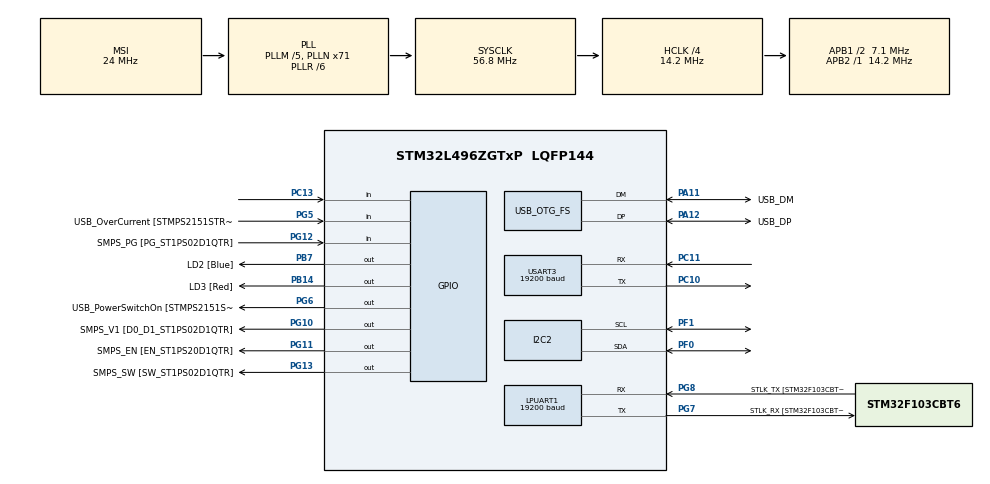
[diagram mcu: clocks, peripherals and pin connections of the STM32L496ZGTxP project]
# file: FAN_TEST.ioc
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I2C2.OwnAddress=0x50
I2C2.Timing=0x00101A26
LPUART1.BaudRate=19200
LPUART1.SwapParam=UART_ADVFEATURE_SWAP_ENABLE
LPUART1.WordLength=UART_WORDLENGTH_8B
Mcu.Family=STM32L4
Mcu.Name=STM32L496ZGTxP
Mcu.Package=LQFP144
NVIC.OTG_FS_IRQn=true\:0\:0\:false\:false\:true\:true\:true\:true
NVIC.PriorityGroup=NVIC_PRIORITYGROUP_4
PA10.GPIO_Label=USB_ID
PA10.Signal=USB_OTG_FS_ID
PA11.GPIO_Label=USB_DM
PA11.Mode=Host_Only
PA11.Signal=USB_OTG_FS_DM
PA12.GPIO_Label=USB_DP
PA12.Mode=Host_Only
PA12.Signal=USB_OTG_FS_DP
PA13\ (JTMS/SWDIO).GPIO_Label=TMS
PA13\ (JTMS/SWDIO).Mode=Trace_Asynchronous_SW
PA13\ (JTMS/SWDIO).Signal=SYS_JTMS-SWDIO
PA14\ (JTCK/SWCLK).GPIO_Label=TCK
PA14\ (JTCK/SWCLK).Mode=Trace_Asynchronous_SW
PA14\ (JTCK/SWCLK).Signal=SYS_JTCK-SWCLK
PA8.GPIO_Label=USB_SOF [TP1]
PA8.Signal=USB_OTG_FS_SOF
PA9.GPIO_Label=USB_VBUS
PA9.Signal=USB_OTG_FS_VBUS
PB14.GPIO_Label=LD3 [Red]
PB14.Signal=GPIO_Output
PB3\ (JTDO/TRACESWO).GPIO_Label=SWO
PB3\ (JTDO/TRACESWO).Mode=Trace_Asynchronous_SW
PB3\ (JTDO/TRACESWO).Signal=SYS_JTDO-SWO
PB7.GPIO_Label=LD2 [Blue]
PB7.Signal=GPIO_Output
PC10.Mode=Asynchronous
PC10.Signal=USART3_TX
PC11.Mode=Asynchronous
PC11.Signal=USART3_RX
PC13.Signal=GPIO_Input
PC14-OSC32_IN\ (PC14).Mode=LSE-External-Oscillator
PC14-OSC32_IN\ (PC14).Signal=RCC_OSC32_IN
PC15-OSC32_OUT\ (PC15).Mode=LSE-External-Oscillator
PC15-OSC32_OUT\ (PC15).Signal=RCC_OSC32_OUT
PF0.Mode=I2C
PF0.Signal=I2C2_SDA
PF1.Mode=I2C
PF1.Signal=I2C2_SCL
PG10.GPIO_Label=SMPS_V1 [D0_D1_ST1PS02D1QTR]
PG10.Signal=GPIO_Output
PG11.GPIO_Label=SMPS_EN [EN_ST1PS20D1QTR]
PG11.Signal=GPIO_Output
PG12.GPIO_Label=SMPS_PG [PG_ST1PS02D1QTR]
PG12.Signal=GPIO_Input
PG13.GPIO_Label=SMPS_SW [SW_ST1PS02D1QTR]
PG13.Signal=GPIO_Output
PG5.GPIO_Label=USB_OverCurrent [STMPS2151STR_FAULT]
PG5.Signal=GPIO_Input
PG6.GPIO_Label=USB_PowerSwitchOn [STMPS2151STR_EN]
PG6.Signal=GPIO_Output
PG7.GPIO_Label=STLK_RX [STM32F103CBT6_PA3]
PG7.Mode=Asynchronous
PG7.Signal=LPUART1_TX
PG8.GPIO_Label=STLK_TX [STM32F103CBT6_PA2]
PG8.Mode=Asynchronous
PG8.Signal=LPUART1_RX
PH0-OSC_IN\ (PH0).GPIO_Label=MCO
PH0-OSC_IN\ (PH0).Signal=RCC_OSC_IN
PH1-OSC_OUT\ (PH1).Signal=RCC_OSC_OUT
ProjectManager.HeapSize=0x200
ProjectManager.StackSize=0x400
ProjectManager.TargetToolchain=STM32CubeIDE
RCC.48MHZClocksFreq_Value=24000000
RCC.ADCFreq_Value=48000000
RCC.AHBCLKDivider=RCC_SYSCLK_DIV4
RCC.AHBFreq_Value=14200000
RCC.APB1CLKDivider=RCC_HCLK_DIV2
RCC.APB1Freq_Value=7100000
RCC.APB1TimFreq_Value=14200000
RCC.APB2Freq_Value=14200000
RCC.APB2TimFreq_Value=14200000
RCC.CortexFreq_Value=14200000
RCC.HCLKFreq_Value=14200000
RCC.HSE_VALUE=8000000
RCC.HSI48_VALUE=48000000
RCC.HSI_VALUE=16000000
RCC.MSIClockRange=RCC_MSIRANGE_9
RCC.MSI_VALUE=24000000
RCC.PLLM=5
RCC.PLLMUL=RCC_PLL_MUL9
RCC.PLLN=71
RCC.PLLR=RCC_PLLR_DIV6
RCC.PLLSAI1N=20
RCC.PRESCALERUSB=RCC_USBCLKSOURCE_PLL_DIV1_5
RCC.SYSCLKFreq_VALUE=56800000
RCC.SYSCLKSource=RCC_SYSCLKSOURCE_PLLCLK
RCC.SYSCLKSourceVirtual=RCC_SYSCLKSOURCE_PLLCLK
RCC.USBFreq_Value=48000000
RCC.VCOOutputFreq_Value=340800000
USART3.BaudRate=19200
USART3.VirtualMode-Asynchronous=VM_ASYNC
USB_HOST.BSP.number=1
USB_HOST.USBH_HandleTypeDef=hUsbHostFS
USB_HOST.VirtualModeFS=Audio
USB_HOST0.BSP.STBoard=false
USB_HOST0.BSP.api=UnknownBspDriver
USB_HOST0.BSP.instance=PG6
USB_HOST0.BSP.ip=GPIO
USB_HOST0.BSP.mode=Output
USB_HOST0.BSP.name=Drive_VBUS_FS
USB_HOST0.BSP.solution=PG6
USB_OTG_FS.VirtualMode=Host_Only
USB_OTG_FS.phy_itface=HCD_PHY_EMBEDDED
VP_TIM6_VS_ClockSourceINT.Mode=Enable_Timer
VP_USB_HOST_VS_USB_HOST_AUDIO_FS.Mode=AUDIO_FS
board=NUCLEO-L496ZG-P

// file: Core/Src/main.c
/* USER CODE BEGIN Header */
/**
  ******************************************************************************
  * @file           : main.c
  * @brief          : Main program body
  ******************************************************************************
  * @attention
  *
  * Copyright (c) 2022 STMicroelectronics.
  * All rights reserved.
  *
  * This software is licensed under terms that can be found in the LICENSE file
  * in the root directory of this software component.
  * If no LICENSE file comes with this software, it is provided AS-IS.
  *
  ******************************************************************************
  */
/* USER CODE END Header */
#include "main.h"
#include "usb_host.h"
#include<string.h>
#include<stdio.h>

I2C_HandleTypeDef hi2c2;

UART_HandleTypeDef hlpuart1;
UART_HandleTypeDef huart3;

TIM_HandleTypeDef htim6;

/* USER CODE BEGIN PV */
HAL_StatusTypeDef ret; // to store return value of communication function
uint8_t buf[50];

//Variable for Temperature sensor ADT1407
static const uint8_t TMP1407_ADDR = 0x48<<1;
static const uint8_t Temp_REG = 0x00;
float Temp;

//Variable for Fan Controller
static const uint8_t FAN_ADDR = 0x2F<<1;
uint8_t read_TACH_High_Reg = 0x3E;
uint8_t read_TACH_Low_Reg = 0x3F;
float RPM;

/* USER CODE END PV */

void SystemClock_Config(void);
static void MX_GPIO_Init(void);
static void MX_LPUART1_UART_Init(void);
static void MX_I2C2_Init(void);
static void MX_TIM6_Init(void);
static void MX_USART3_UART_Init(void);
void MX_USB_HOST_Process(void);

/* USER CODE BEGIN PFP */
void Read_Temp(void);
void Read_RPM(void);
/* USER CODE END PFP */

int main(void)
{
  /* USER CODE BEGIN 1 */

	uint16_t myData= 0xA;

  /* USER CODE END 1 */

  /* MCU Configuration--------------------------------------------------------*/

  /* Reset of all peripherals, Initializes the Flash interface and the Systick. */
  HAL_Init();

  /* Configure the system clock */
  SystemClock_Config();

  /* Initialize all configured peripherals */
  MX_GPIO_Init();
  MX_LPUART1_UART_Init();
  MX_USB_HOST_Init();
  MX_I2C2_Init();
  MX_TIM6_Init();
  MX_USART3_UART_Init();
  /* USER CODE BEGIN 2 */

  sprintf((char*)buf,"Data in Decimal : %d, Data in Hex : %X \n",myData,myData);
  HAL_UART_Transmit(&huart3, buf, strlen((char*)buf), 100);

  strcpy((char*)buf, "Application is Running\r\n");
  HAL_UART_Transmit(&huart3, buf, strlen((char*)buf), 100);
  /* USER CODE END 2 */

  /* Infinite loop */
  while (1)
  {
    MX_USB_HOST_Process();

    /* USER CODE BEGIN 3 */

    while(! HAL_GPIO_ReadPin(GPIOC, GPIO_PIN_13));
    HAL_GPIO_WritePin(GPIOB, GPIO_PIN_7, GPIO_PIN_SET);

    HAL_Delay(100);

    strcpy((char*)buf, "\n\rI2C Receive Data \r\n");
    HAL_UART_Transmit(&huart3, buf, strlen((char*)buf), 100);
    HAL_Delay(100);

    //HAL_I2C_Master_Receive(&hi2c2, SlaveAdr, SlaveReg, 1, 100);
    //HAL_I2C_Master_Receive(&hi2c2, SlaveAdr, i2c_RxData, sizeof(i2c_RxData), 100);
    //HAL_Delay(100);

    //HAL_UART_Transmit(&huart3, i2c_RxData, strlen((char*)i2c_RxData), 100);
    //HAL_Delay(100);

    Read_Temp();
    Read_RPM();

    HAL_GPIO_WritePin(GPIOB, GPIO_PIN_7, GPIO_PIN_RESET);
  }
  /* USER CODE END 3 */
}

/*
 * @brief Read Temperature
 * retval None
 * */
void Read_Temp(void){

	//uint8_t buf[20];
	buf[0]=Temp_REG;
	uint8_t low_byte;
	uint8_t high_byte;
	ret = HAL_I2C_Master_Transmit(&hi2c2,TMP1407_ADDR, buf, 1, 100);

	if(ret != HAL_OK){
		strcpy((char*)buf,"Error Tx \r\n");
	}else{
		// Read two bytes from the temperature register or Slave register
		ret = HAL_I2C_Master_Receive(&hi2c2, TMP1407_ADDR, buf, 2, 100);

		if(ret != HAL_OK){
			strcpy((char*)buf,"Error Rx \r\n");
		}else{

			//Combine the bytes
			uint16_t reading;
			reading = buf[0]<<8;
			reading = reading | buf[1];

			//Print I2C receive Data in Hex format
			low_byte=buf[0];
			high_byte=buf[1];
			sprintf((char*)buf,"Received data from I2C : %X\n",low_byte);
			HAL_UART_Transmit(&huart3, buf, strlen((char*)buf), 100);
			sprintf((char*)buf,"Received data from I2C : %X\n",high_byte);
			HAL_UART_Transmit(&huart3, buf, strlen((char*)buf), 100);

			//Convert to Temperature
			Temp = reading * 0.0078;
			sprintf((char*)buf,"Temp = %0.3f C \r",Temp);

		}
	}

	HAL_UART_Transmit(&huart3, buf, strlen((char*)buf), 100);
	HAL_Delay(1000);

}

/*
 * @brief Read RPM from Fan controller EMC2301
 * retval None
 */
void Read_RPM(void){
	static const uint8_t FAN_ADDR = 0x2F<<1;
	uint8_t read_TACH_High_Reg = 0x3E;
	uint8_t read_TACH_Low_Reg = 0x3F;
	float RPM;
	uint8_t val_3E=0;
	uint8_t val_3F=0;
	uint16_t val;

	HAL_I2C_Master_Transmit(&hi2c2, FAN_ADDR, &read_TACH_High_Reg, 1, 100);
	if(ret != HAL_OK){
		strcpy((char*)buf,"Error in Tx for 3E Reg\n");
	}else{
		HAL_I2C_Master_Receive(&hi2c2, FAN_ADDR, &val_3E, 1, 100);
		val = val_3E;
		val= val<<8;
	}

	HAL_I2C_Master_Transmit(&hi2c2, FAN_ADDR, &read_TACH_Low_Reg, 1, 100);
	if(ret != HAL_OK){
		strcpy((char*)buf,"Error in Tx for 3F Reg\n");
	}else{
		HAL_I2C_Master_Receive(&hi2c2, FAN_ADDR, &val_3F, 1, 100);
		val= val | val_3F;
		val = val>>3;
	}

	RPM = 3932160 / val;
	sprintf((char*)buf,"Actual RPM : %0.1f \n",RPM);

	HAL_UART_Transmit(&huart3, buf, strlen((char*)buf), 100);

}

void SystemClock_Config(void)
{
  RCC_OscInitTypeDef RCC_OscInitStruct = {0};
  RCC_ClkInitTypeDef RCC_ClkInitStruct = {0};

  /** Configure the main internal regulator output voltage
  */
  if (HAL_PWREx_ControlVoltageScaling(PWR_REGULATOR_VOLTAGE_SCALE1) != HAL_OK)
  {
    Error_Handler();
  }

  /** Configure LSE Drive Capability
  */
  HAL_PWR_EnableBkUpAccess();
  __HAL_RCC_LSEDRIVE_CONFIG(RCC_LSEDRIVE_LOW);

  /** Initializes the RCC Oscillators according to the specified parameters
  * in the RCC_OscInitTypeDef structure.
  */
  RCC_OscInitStruct.OscillatorType = RCC_OSCILLATORTYPE_LSE|RCC_OSCILLATORTYPE_MSI;
  RCC_OscInitStruct.LSEState = RCC_LSE_ON;
  RCC_OscInitStruct.MSIState = RCC_MSI_ON;
  RCC_OscInitStruct.MSICalibrationValue = 0;
  RCC_OscInitStruct.MSIClockRange = RCC_MSIRANGE_9;
  RCC_OscInitStruct.PLL.PLLState = RCC_PLL_ON;
  RCC_OscInitStruct.PLL.PLLSource = RCC_PLLSOURCE_MSI;
  RCC_OscInitStruct.PLL.PLLM = 5;
  RCC_OscInitStruct.PLL.PLLN = 71;
  RCC_OscInitStruct.PLL.PLLP = RCC_PLLP_DIV2;
  RCC_OscInitStruct.PLL.PLLQ = RCC_PLLQ_DIV2;
  RCC_OscInitStruct.PLL.PLLR = RCC_PLLR_DIV6;
  if (HAL_RCC_OscConfig(&RCC_OscInitStruct) != HAL_OK)
  {
    Error_Handler();
  }

  /** Initializes the CPU, AHB and APB buses clocks
  */
  RCC_ClkInitStruct.ClockType = RCC_CLOCKTYPE_HCLK|RCC_CLOCKTYPE_SYSCLK
                              |RCC_CLOCKTYPE_PCLK1|RCC_CLOCKTYPE_PCLK2;
  RCC_ClkInitStruct.SYSCLKSource = RCC_SYSCLKSOURCE_PLLCLK;
  RCC_ClkInitStruct.AHBCLKDivider = RCC_SYSCLK_DIV4;
  RCC_ClkInitStruct.APB1CLKDivider = RCC_HCLK_DIV2;
  RCC_ClkInitStruct.APB2CLKDivider = RCC_HCLK_DIV1;

  if (HAL_RCC_ClockConfig(&RCC_ClkInitStruct, FLASH_LATENCY_0) != HAL_OK)
  {
    Error_Handler();
  }

  /** Enable MSI Auto calibration
  */
  HAL_RCCEx_EnableMSIPLLMode();
}

static void MX_I2C2_Init(void)
{

  hi2c2.Instance = I2C2;
  hi2c2.Init.Timing = 0x00101A26;
  hi2c2.Init.OwnAddress1 = 160;
  hi2c2.Init.AddressingMode = I2C_ADDRESSINGMODE_7BIT;
  hi2c2.Init.DualAddressMode = I2C_DUALADDRESS_DISABLE;
  hi2c2.Init.OwnAddress2 = 0;
  hi2c2.Init.OwnAddress2Masks = I2C_OA2_NOMASK;
  hi2c2.Init.GeneralCallMode = I2C_GENERALCALL_DISABLE;
  hi2c2.Init.NoStretchMode = I2C_NOSTRETCH_DISABLE;
  if (HAL_I2C_Init(&hi2c2) != HAL_OK)
  {
    Error_Handler();
  }

  /** Configure Analogue filter
  */
  if (HAL_I2CEx_ConfigAnalogFilter(&hi2c2, I2C_ANALOGFILTER_ENABLE) != HAL_OK)
  {
    Error_Handler();
  }

  /** Configure Digital filter
  */
  if (HAL_I2CEx_ConfigDigitalFilter(&hi2c2, 0) != HAL_OK)
  {
    Error_Handler();
  }

}

static void MX_LPUART1_UART_Init(void)
{

  hlpuart1.Instance = LPUART1;
  hlpuart1.Init.BaudRate = 19200;
  hlpuart1.Init.WordLength = UART_WORDLENGTH_8B;
  hlpuart1.Init.StopBits = UART_STOPBITS_1;
  hlpuart1.Init.Parity = UART_PARITY_NONE;
  hlpuart1.Init.Mode = UART_MODE_TX_RX;
  hlpuart1.Init.HwFlowCtl = UART_HWCONTROL_NONE;
  hlpuart1.Init.OneBitSampling = UART_ONE_BIT_SAMPLE_DISABLE;
  hlpuart1.AdvancedInit.AdvFeatureInit = UART_ADVFEATURE_SWAP_INIT;
  hlpuart1.AdvancedInit.Swap = UART_ADVFEATURE_SWAP_ENABLE;
  if (HAL_UART_Init(&hlpuart1) != HAL_OK)
  {
    Error_Handler();
  }

}

static void MX_USART3_UART_Init(void)
{

  huart3.Instance = USART3;
  huart3.Init.BaudRate = 115200;
  huart3.Init.WordLength = UART_WORDLENGTH_8B;
  huart3.Init.StopBits = UART_STOPBITS_1;
  huart3.Init.Parity = UART_PARITY_NONE;
  huart3.Init.Mode = UART_MODE_TX_RX;
  huart3.Init.HwFlowCtl = UART_HWCONTROL_NONE;
  huart3.Init.OverSampling = UART_OVERSAMPLING_16;
  huart3.Init.OneBitSampling = UART_ONE_BIT_SAMPLE_DISABLE;
  huart3.AdvancedInit.AdvFeatureInit = UART_ADVFEATURE_NO_INIT;
  if (HAL_UART_Init(&huart3) != HAL_OK)
  {
    Error_Handler();
  }

}

static void MX_TIM6_Init(void)
{

  TIM_MasterConfigTypeDef sMasterConfig = {0};

  htim6.Instance = TIM6;
  htim6.Init.Prescaler = 0;
  htim6.Init.CounterMode = TIM_COUNTERMODE_UP;
  htim6.Init.Period = 65535;
  htim6.Init.AutoReloadPreload = TIM_AUTORELOAD_PRELOAD_DISABLE;
  if (HAL_TIM_Base_Init(&htim6) != HAL_OK)
  {
    Error_Handler();
  }
  sMasterConfig.MasterOutputTrigger = TIM_TRGO_RESET;
  sMasterConfig.MasterSlaveMode = TIM_MASTERSLAVEMODE_DISABLE;
  if (HAL_TIMEx_MasterConfigSynchronization(&htim6, &sMasterConfig) != HAL_OK)
  {
    Error_Handler();
  }

}

static void MX_GPIO_Init(void)
{
  GPIO_InitTypeDef GPIO_InitStruct = {0};

  /* GPIO Ports Clock Enable */
  __HAL_RCC_GPIOC_CLK_ENABLE();
  __HAL_RCC_GPIOF_CLK_ENABLE();
  __HAL_RCC_GPIOH_CLK_ENABLE();
  __HAL_RCC_GPIOB_CLK_ENABLE();
  __HAL_RCC_GPIOG_CLK_ENABLE();
  HAL_PWREx_EnableVddIO2();
  __HAL_RCC_GPIOA_CLK_ENABLE();

  /*Configure GPIO pin Output Level */
  HAL_GPIO_WritePin(GPIOB, LD3_Pin|LD2_Pin, GPIO_PIN_RESET);

  /*Configure GPIO pin Output Level */
  HAL_GPIO_WritePin(GPIOG, USB_PowerSwitchOn_Pin|SMPS_V1_Pin|SMPS_EN_Pin|SMPS_SW_Pin, GPIO_PIN_RESET);

  /*Configure GPIO pin : PC13 */
  GPIO_InitStruct.Pin = GPIO_PIN_13;
  GPIO_InitStruct.Mode = GPIO_MODE_INPUT;
  GPIO_InitStruct.Pull = GPIO_NOPULL;
  HAL_GPIO_Init(GPIOC, &GPIO_InitStruct);

  /*Configure GPIO pins : LD3_Pin LD2_Pin */
  GPIO_InitStruct.Pin = LD3_Pin|LD2_Pin;
  GPIO_InitStruct.Mode = GPIO_MODE_OUTPUT_PP;
  GPIO_InitStruct.Pull = GPIO_NOPULL;
  GPIO_InitStruct.Speed = GPIO_SPEED_FREQ_LOW;
  HAL_GPIO_Init(GPIOB, &GPIO_InitStruct);

  /*Configure GPIO pins : USB_OverCurrent_Pin SMPS_PG_Pin */
  GPIO_InitStruct.Pin = USB_OverCurrent_Pin|SMPS_PG_Pin;
  GPIO_InitStruct.Mode = GPIO_MODE_INPUT;
  GPIO_InitStruct.Pull = GPIO_NOPULL;
  HAL_GPIO_Init(GPIOG, &GPIO_InitStruct);

  /*Configure GPIO pins : USB_PowerSwitchOn_Pin SMPS_V1_Pin SMPS_EN_Pin SMPS_SW_Pin */
  GPIO_InitStruct.Pin = USB_PowerSwitchOn_Pin|SMPS_V1_Pin|SMPS_EN_Pin|SMPS_SW_Pin;
  GPIO_InitStruct.Mode = GPIO_MODE_OUTPUT_PP;
  GPIO_InitStruct.Pull = GPIO_NOPULL;
  GPIO_InitStruct.Speed = GPIO_SPEED_FREQ_LOW;
  HAL_GPIO_Init(GPIOG, &GPIO_InitStruct);

}

void Error_Handler(void)
{
  __disable_irq();
  while (1)
  {
  }
}
